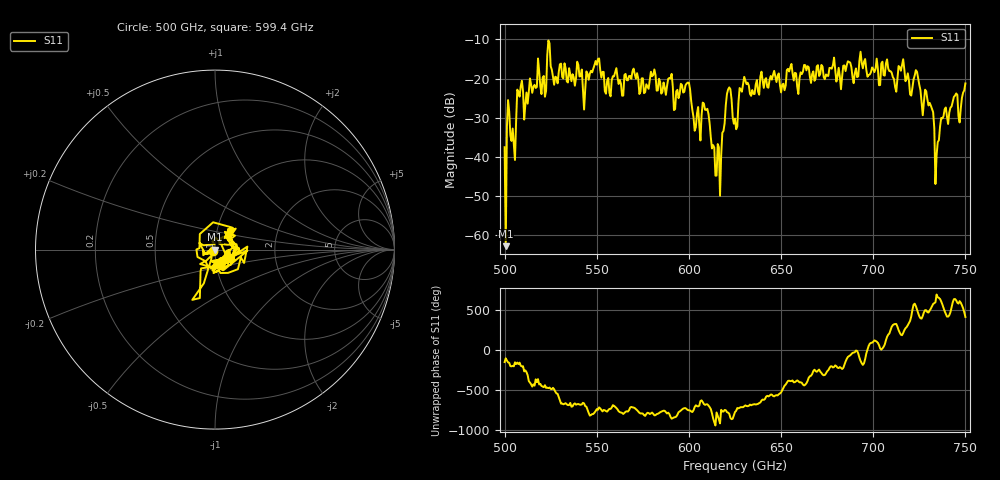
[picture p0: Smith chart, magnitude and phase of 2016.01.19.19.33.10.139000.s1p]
!Created with skrf (http://scikit-rf.org).
# GHz S RI R 50.0
!freq ReS11 ImS11
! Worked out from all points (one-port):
!   401 points, 500 GHz to 750 GHz, reference 50 ohm
!   lowest |S11| = -62.8 dB at 500.6 GHz (marker M1), VSWR 1.00, Z = 50 - j0.0709 ohm
!   |S11| at or under -10 dB: start of sweep to end of sweep
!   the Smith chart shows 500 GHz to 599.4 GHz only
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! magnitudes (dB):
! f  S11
! 500 GHz  -37.5
! 500.6 GHz  -62.8
! 502.5 GHz  -28.4
! 505 GHz  -36.6
! 508.1 GHz  -24.6
! 521.2 GHz  -19.3
! 524.4 GHz  -11.0
! 527.5 GHz  -19.5
! 531.2 GHz  -19.6
! 543.8 GHz  -22.6
! 550 GHz  -16.4
! 562.5 GHz  -20.4
! 580.6 GHz  -19.1
! 593.8 GHz  -22.9
! 599.4 GHz  -21.0
! 605 GHz  -27.2
! 608.8 GHz  -28.0
! 615.6 GHz  -36.7
! 621.2 GHz  -22.8
! 625 GHz  -30.2
! 630.6 GHz  -20.5
! 656.2 GHz  -18.7
! 687.5 GHz  -15.9
! 718.8 GHz  -18.6
! 729.4 GHz  -25.3
! 734.4 GHz  -39.6
! 738.1 GHz  -29.6
! 750 GHz  -21.2
